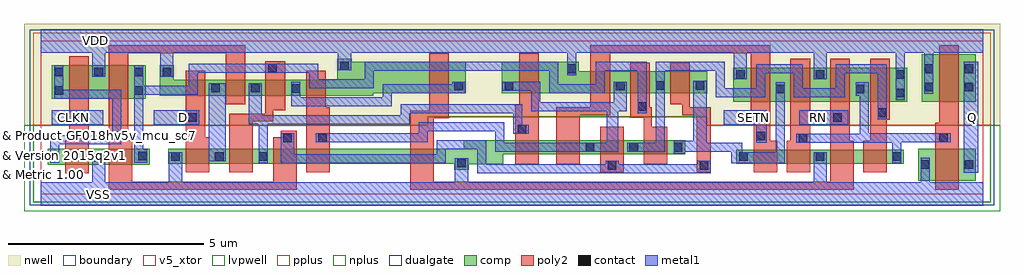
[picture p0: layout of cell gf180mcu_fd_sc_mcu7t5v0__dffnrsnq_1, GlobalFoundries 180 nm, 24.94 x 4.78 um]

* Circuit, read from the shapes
.subckt gf180mcu_fd_sc_mcu7t5v0__dffnrsnq_1 CLKN D Q RN SETN VDD VSS
XM1 VSS CLKN n1 VSUBS nfet_05v0 w=0.405u l=0.6u
XM2 n2 n1 VSS VSUBS nfet_05v0 w=0.405u l=0.6u
XM3 n3 D VSS VSUBS nfet_05v0 w=0.38u l=0.6u
XM4 n4 n2 n3 VSUBS nfet_05v0 w=0.38u l=0.6u
XM5 n5 n1 n4 VSUBS nfet_05v0 w=0.38u l=0.6u
XM6 n6 n7 n5 VSUBS nfet_05v0 w=0.38u l=0.6u
XM7 VSS RN n6 VSUBS nfet_05v0 w=0.38u l=0.6u
XM8 n8 n4 VSS VSUBS nfet_05v0 w=0.36u l=0.6u
XM9 n7 SETN n8 VSUBS nfet_05v0 w=0.36u l=0.6u
XM10 n9 n1 n7 VSUBS nfet_05v0 w=0.36u l=0.6u
XM11 n10 n2 n9 VSUBS nfet_05v0 w=0.36u l=0.6u
XM12 n11 SETN n10 VSUBS nfet_05v0 w=0.36u l=0.6u
XM13 VSS n12 n11 VSUBS nfet_05v0 w=0.36u l=0.6u
XM14 n13 RN VSS VSUBS nfet_05v0 w=0.36u l=0.6u
XM15 n12 n9 n13 VSUBS nfet_05v0 w=0.36u l=0.6u
XM16 Q n12 VSS VSUBS nfet_05v0 w=0.815u l=0.6u
XM17 VDD CLKN n1 n14 pfet_05v0 w=0.865u l=0.5u
XM18 n2 n1 VDD n14 pfet_05v0 w=0.865u l=0.5u
XM19 n3 D VDD n14 pfet_05v0 w=0.41u l=0.5u
XM20 n4 n1 n3 n14 pfet_05v0 w=0.41u l=0.5u
XM21 n15 n2 n4 n14 pfet_05v0 w=0.41u l=0.5u
XM22 VDD n7 n15 n14 pfet_05v0 w=0.41u l=0.5u
XM23 n15 RN VDD n14 pfet_05v0 w=0.805u l=0.5u
XM24 VDD n4 n7 n14 pfet_05v0 w=0.805u l=0.5u
XM25 n7 SETN VDD n14 pfet_05v0 w=0.56u l=0.5u
XM26 n9 n2 n7 n14 pfet_05v0 w=0.56u l=0.5u
XM27 n10 n1 n9 n14 pfet_05v0 w=0.56u l=0.5u
XM28 n10 SETN VDD n14 pfet_05v0 w=0.875u l=0.5u
XM29 VDD n12 n10 n14 pfet_05v0 w=0.875u l=0.5u
XM30 n12 RN VDD n14 pfet_05v0 w=0.875u l=0.5u
XM31 VDD n9 n12 n14 pfet_05v0 w=0.875u l=0.5u
XM32 Q n12 VDD n14 pfet_05v0 w=1.22u l=0.5u
.ends

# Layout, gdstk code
import gdstk
lib = gdstk.Library(unit=1e-6, precision=1e-09)
def R(c, l, rs):  # rectangles x0, y0, x1, y1
    for r in rs: c.add(gdstk.rectangle(r[:2], r[2:], *l))
def A(c, l, x, y, w, h, nx, ny, dx, dy):  # array of equal rectangles
    R(c, l, [(x+i*dx, y+j*dy, x+i*dx+w, y+j*dy+h) for i in range(nx) for j in range(ny)])
def P(c, l, *ps):  # polygons
    for p in ps: c.add(gdstk.Polygon(p, *l))
boundary = (0, 0)
nwell = (21, 0)
comp = (22, 0)
poly2 = (30, 0)
pplus = (31, 0)
nplus = (32, 0)
contact = (33, 0)
metal1 = (34, 0)
dualgate = (55, 0)
v5_xtor = (112, 1)
lvpwell = (204, 0)

gf180mcu_fd_sc_mcu7t5v0_ = lib.new_cell('gf180mcu_fd_sc_mcu7t5v0__dffnrsnq_1')
R(gf180mcu_fd_sc_mcu7t5v0_, boundary, [(0,0,24.08,3.92)])
P(gf180mcu_fd_sc_mcu7t5v0_, nwell, [(-0.43,1.76),(-0.43,4.35),(24.51,4.35),(24.51,1.76),(17.02,1.76),(17.02,1.98),(9.885,1.98),(9.885,1.76)])
R(gf180mcu_fd_sc_mcu7t5v0_, comp, [(22.415,0.345,23.895,1.16), (0.18,0.755,2.78,1.16), (17.775,0.78,22.055,1.14), (17.695,2.36,22.135,3.235), (22.515,2.36,23.895,3.58), (0.28,2.435,2.68,3.3)])
P(gf180mcu_fd_sc_mcu7t5v0_, comp, [(3.04,2.52),(3.04,3.295),(3.4,3.295),(3.4,2.93),(7.58,2.93),(7.58,3.46),(7.94,3.46),(7.94,3.385),(10.86,3.385),(10.86,2.58),(8.5,2.58),(8.5,2.52)],
  [(10.57,0.62),(10.57,0.78),(3.26,0.78),(3.26,1.16),(10.805,1.16),(10.805,1.38),(16.465,1.38),(16.465,1.02),(11.82,1.02),(11.82,0.76),(10.93,0.76),(10.93,0.62)],
  [(11.78,2.58),(11.78,3.385),(13.745,3.385),(13.745,3.14),(17.025,3.14),(17.025,2.58)])
R(gf180mcu_fd_sc_mcu7t5v0_, poly2, [(14.29,0.56,14.89,1.72)])
P(gf180mcu_fd_sc_mcu7t5v0_, poly2, [(0.62,0.535),(0.62,1.38),(0.72,1.38),(0.72,3.52),(1.22,3.52),(1.22,0.535)],
  [(3.7,0.56),(3.7,3.15),(4.2,3.15),(4.2,1.46),(4.3,1.46),(4.3,0.56)],
  [(4.82,0.56),(4.82,2.06),(5.74,2.06),(5.74,3.4),(6.24,3.4),(6.24,2.14),(5.94,2.14),(5.94,1.86),(5.42,1.86),(5.42,0.56)],
  [(1.74,0.12),(1.74,3.8),(5.22,3.8),(5.22,2.3),(4.72,2.3),(4.72,3.6),(2.24,3.6),(2.24,1.38),(2.34,1.38),(2.34,0.32),(5.94,0.32),(5.94,1.46),(6.125,1.46),(6.125,1.62),(6.54,1.62),(6.54,0.12)],
  [(6.78,0.56),(6.78,3.15),(7.28,3.15),(7.28,2.22),(7.38,2.22),(7.38,0.56)],
  [(12.12,0.76),(12.12,2.28),(12.22,2.28),(12.22,3.605),(12.72,3.605),(12.72,0.76)],
  [(15.41,0.76),(15.41,1.96),(15.065,1.96),(15.065,3.36),(15.565,3.36),(15.565,2.22),(15.61,2.22),(15.61,1.72),(16.01,1.72),(16.01,0.76)],
  [(16.765,0.56),(16.765,2.02),(16.385,2.02),(16.385,2.3),(16.085,2.3),(16.085,3.36),(16.585,3.36),(16.585,2.22),(17.125,2.22),(17.125,0.56)],
  [(18.215,0.56),(18.215,2.09),(18.135,2.09),(18.135,3.6),(14.545,3.6),(14.545,2.02),(13.77,2.02),(13.77,0.76),(13.17,0.76),(13.17,2.22),(14.045,2.22),(14.045,3.8),(18.635,3.8),(18.635,1.36),(18.815,1.36),(18.815,0.56)],
  [(19.055,0.56),(19.055,1.36),(19.155,1.36),(19.155,3.455),(19.655,3.455),(19.655,0.56)],
  [(9.44,0.12),(9.44,2.135),(9.92,2.135),(9.92,3.605),(10.42,3.605),(10.42,1.935),(10.04,1.935),(10.04,0.32),(20.175,0.32),(20.175,3.455),(20.675,3.455),(20.675,1.36),(20.775,1.36),(20.775,0.12)],
  [(21.015,0.56),(21.015,1.36),(21.195,1.36),(21.195,3.455),(21.695,3.455),(21.695,1.9),(21.615,1.9),(21.615,0.56)],
  [(22.855,0.12),(22.855,1.825),(22.955,1.825),(22.955,3.8),(23.455,3.8),(23.455,0.12)])
P(gf180mcu_fd_sc_mcu7t5v0_, pplus, [(-0.2,1.76),(-0.2,4.12),(24.28,4.12),(24.28,1.76),(17.02,1.76),(17.02,1.98),(9.885,1.98),(9.885,1.76)])
P(gf180mcu_fd_sc_mcu7t5v0_, nplus, [(-0.2,-0.2),(-0.2,1.76),(9.885,1.76),(9.885,1.98),(17.02,1.98),(17.02,1.76),(24.28,1.76),(24.28,-0.2)])
A(gf180mcu_fd_sc_mcu7t5v0_, contact, 3.33, 0.85, 0.22, 0.22, 3, 1, 1.12, 0)
A(gf180mcu_fd_sc_mcu7t5v0_, contact, 17.845, 0.85, 0.22, 0.22, 3, 1, 1.96, 0)
A(gf180mcu_fd_sc_mcu7t5v0_, contact, 17.765, 2.945, 0.22, 0.22, 3, 1, 2.04, 0)
A(gf180mcu_fd_sc_mcu7t5v0_, contact, 0.35, 3.01, 0.22, 0.22, 3, 1, 1.02, 0)
R(gf180mcu_fd_sc_mcu7t5v0_, contact, [(14.49,0.63,14.71,0.85), (16.835,0.63,17.055,0.85), (22.485,0.65,22.705,0.87), (23.605,0.65,23.825,0.87), (10.64,0.69,10.86,0.91), (1.37,0.825,1.59,1.045), (0.25,0.87,0.47,1.09), (2.49,0.87,2.71,1.09), (13.92,1.09,14.14,1.31), (15.04,1.09,15.26,1.31), (16.175,1.09,16.395,1.31), (19.365,1.315,19.585,1.535), (6.195,1.33,6.415,1.55), (7.09,1.33,7.31,1.55), (22.955,1.335,23.175,1.555), (18.285,1.38,18.505,1.6), (1.83,1.39,2.05,1.61), (12.19,1.55,12.41,1.77), (3.77,1.85,3.99,2.07), (18.285,1.85,18.505,2.07), (20.245,1.85,20.465,2.07), (0.79,1.865,1.01,2.085), (21.385,1.97,21.605,2.19), (15.255,2.13,15.475,2.35), (21.845,2.475,22.065,2.695), (0.35,2.54,0.57,2.76), (2.39,2.54,2.61,2.76), (18.785,2.575,19.005,2.795), (20.825,2.575,21.045,2.795), (6.41,2.59,6.63,2.81), (4.35,2.605,4.57,2.825), (5.37,2.605,5.59,2.825), (22.585,2.625,22.805,2.845), (23.605,2.625,23.825,2.845), (10.57,2.65,10.79,2.87), (11.85,2.65,12.07,2.87), (14.695,2.65,14.915,2.87), (15.715,2.67,15.935,2.89), (16.735,2.67,16.955,2.89), (3.11,3.005,3.33,3.225), (13.455,3.095,13.675,3.315), (22.585,3.095,22.805,3.315), (23.605,3.095,23.825,3.315), (5.81,3.11,6.03,3.33), (7.65,3.17,7.87,3.39)])
R(gf180mcu_fd_sc_mcu7t5v0_, metal1, [(23.585,0.55,23.96,3.38), (4.29,0.845,4.73,2.83), (0.28,1.77,1.59,2.15), (2.89,1.77,4.05,2.15), (19.38,1.77,20.63,2.15)])
P(gf180mcu_fd_sc_mcu7t5v0_, metal1, [(0.245,0.81),(0.245,1.51),(1.825,1.51),(1.825,2.435),(0.345,2.435),(0.345,3.3),(0.575,3.3),(0.575,2.67),(2.055,2.67),(2.055,1.28),(0.475,1.28),(0.475,0.81)],
  [(6.405,2.245),(6.405,2.87),(6.635,2.87),(6.635,2.475),(8.74,2.475),(8.74,2.815),(10.51,2.815),(10.51,2.875),(10.85,2.875),(10.85,2.585),(8.97,2.585),(8.97,2.245)],
  [(5.565,0.79),(5.565,1.785),(5.31,1.785),(5.31,2.83),(5.65,2.83),(5.65,2.015),(9.2,2.015),(9.2,2.3),(12.3,2.3),(12.3,1.775),(12.47,1.775),(12.47,1.545),(12.07,1.545),(12.07,2.07),(9.43,2.07),(9.43,1.785),(5.795,1.785),(5.795,0.79)],
  [(11.61,1.085),(11.61,1.605),(9.89,1.605),(9.89,1.325),(7.03,1.325),(7.03,1.555),(9.66,1.555),(9.66,1.835),(11.84,1.835),(11.84,1.315),(14.465,1.315),(14.465,2.115),(12.53,2.115),(12.53,2.645),(11.79,2.645),(11.79,2.875),(12.76,2.875),(12.76,2.345),(14.635,2.345),(14.635,2.875),(14.975,2.875),(14.975,2.125),(14.75,2.125),(14.75,1.085)],
  [(2.385,0.81),(2.385,3.3),(2.615,3.3),(2.615,2.77),(3.785,2.77),(3.785,3.335),(7.095,3.335),(7.095,2.935),(8.28,2.935),(8.28,3.39),(13.22,3.39),(13.22,2.805),(14.175,2.805),(14.175,3.39),(15.48,3.39),(15.48,2.07),(15.25,2.07),(15.25,3.16),(14.405,3.16),(14.405,2.575),(12.99,2.575),(12.99,3.16),(8.51,3.16),(8.51,2.705),(6.865,2.705),(6.865,3.105),(4.015,3.105),(4.015,2.54),(2.615,2.54),(2.615,1.15),(2.715,1.15),(2.715,0.81)],
  [(11.15,0.53),(11.15,1.145),(10.35,1.145),(10.35,0.79),(6.135,0.79),(6.135,1.555),(6.475,1.555),(6.475,1.02),(10.12,1.02),(10.12,1.375),(11.38,1.375),(11.38,0.76),(14.43,0.76),(14.43,0.855),(14.77,0.855),(14.77,0.76),(16.775,0.76),(16.775,0.855),(17.115,0.855),(17.115,0.53)],
  [(18.28,1.32),(18.28,1.77),(17.45,1.77),(17.45,2.15),(18.55,2.15),(18.55,1.32)],
  [(17.64,0.79),(17.64,1.085),(16.455,1.085),(16.455,1.03),(16.17,1.03),(16.17,1.37),(16.675,1.37),(16.675,2.895),(17.015,2.895),(17.015,1.315),(17.925,1.315),(17.925,1.075),(18.78,1.075),(18.78,2.855),(19.01,2.855),(19.01,0.79)],
  [(14.98,1.085),(14.98,1.315),(15.71,1.315),(15.71,3.39),(17.475,3.39),(17.475,2.71),(18.275,2.71),(18.275,3.32),(19.47,3.32),(19.47,2.71),(20.315,2.71),(20.315,3.32),(21.61,3.32),(21.61,1.91),(21.38,1.91),(21.38,3.085),(20.545,3.085),(20.545,2.48),(19.24,2.48),(19.24,3.085),(18.505,3.085),(18.505,2.475),(17.245,2.475),(17.245,3.16),(15.94,3.16),(15.94,1.085)],
  [(21.76,0.79),(21.76,1.31),(19.305,1.31),(19.305,1.54),(20.92,1.54),(20.92,2.515),(20.82,2.515),(20.82,2.855),(21.15,2.855),(21.15,1.56),(23.25,1.56),(23.25,1.33),(21.99,1.33),(21.99,0.79)],
  [(0,-0.3),(0,0.3),(1.31,0.3),(1.31,1.05),(1.65,1.05),(1.65,0.3),(3.27,0.3),(3.27,1.075),(3.61,1.075),(3.61,0.3),(10.58,0.3),(10.58,0.915),(10.92,0.915),(10.92,0.3),(19.745,0.3),(19.745,1.075),(20.085,1.075),(20.085,0.3),(22.48,0.3),(22.48,0.93),(22.71,0.93),(22.71,0.3),(24.08,0.3),(24.08,-0.3)],
  [(21.84,2.415),(21.84,3.62),(20.085,3.62),(20.085,2.94),(19.745,2.94),(19.745,3.62),(18.045,3.62),(18.045,2.94),(17.705,2.94),(17.705,3.62),(13.68,3.62),(13.68,3.035),(13.45,3.035),(13.45,3.62),(7.93,3.62),(7.93,3.165),(7.585,3.165),(7.585,3.62),(3.39,3.62),(3.39,3),(3.05,3),(3.05,3.62),(1.65,3.62),(1.65,3.005),(1.31,3.005),(1.31,3.62),(0,3.62),(0,4.22),(24.08,4.22),(24.08,3.62),(22.81,3.62),(22.81,2.565),(22.58,2.565),(22.58,3.62),(22.07,3.62),(22.07,2.415)])
R(gf180mcu_fd_sc_mcu7t5v0_, dualgate, [(-0.28,-0.28,24.36,4.2)])
R(gf180mcu_fd_sc_mcu7t5v0_, v5_xtor, [(0,0,24.08,3.92)])
P(gf180mcu_fd_sc_mcu7t5v0_, lvpwell, [(-0.43,-0.43),(-0.43,1.76),(9.885,1.76),(9.885,1.98),(17.02,1.98),(17.02,1.76),(24.51,1.76),(24.51,-0.43)])
gf180mcu_fd_sc_mcu7t5v0_.add(gdstk.Label('D', (3.64,1.96), layer=34, texttype=10))
gf180mcu_fd_sc_mcu7t5v0_.add(gdstk.Label('VDD', (1.4,3.92), layer=34, texttype=10))
gf180mcu_fd_sc_mcu7t5v0_.add(gdstk.Label('VSS', (1.48,0), layer=34, texttype=10))
gf180mcu_fd_sc_mcu7t5v0_.add(gdstk.Label('CLKN', (0.84,1.96), layer=34, texttype=10))
gf180mcu_fd_sc_mcu7t5v0_.add(gdstk.Label('SETN', (18.2,1.96), layer=34, texttype=10))
gf180mcu_fd_sc_mcu7t5v0_.add(gdstk.Label('RN', (19.88,1.96), layer=34, texttype=10))
gf180mcu_fd_sc_mcu7t5v0_.add(gdstk.Label('Q', (23.8,1.96), layer=34, texttype=10))
gf180mcu_fd_sc_mcu7t5v0_.add(gdstk.Label('& Vendor GLOBALFOUNDRIES', (0,2), layer=63, texttype=63))
gf180mcu_fd_sc_mcu7t5v0_.add(gdstk.Label('& Product GF018hv5v_mcu_sc7', (0,1.5), layer=63, texttype=63))
gf180mcu_fd_sc_mcu7t5v0_.add(gdstk.Label('& Version 2015q2v1', (0,1), layer=63, texttype=63))
gf180mcu_fd_sc_mcu7t5v0_.add(gdstk.Label('& Metric 1.00', (0,0.5), layer=63, texttype=63))

lib.write_gds('gf180mcu_fd_sc_mcu7t5v0__dffnrsnq_1.gds')
